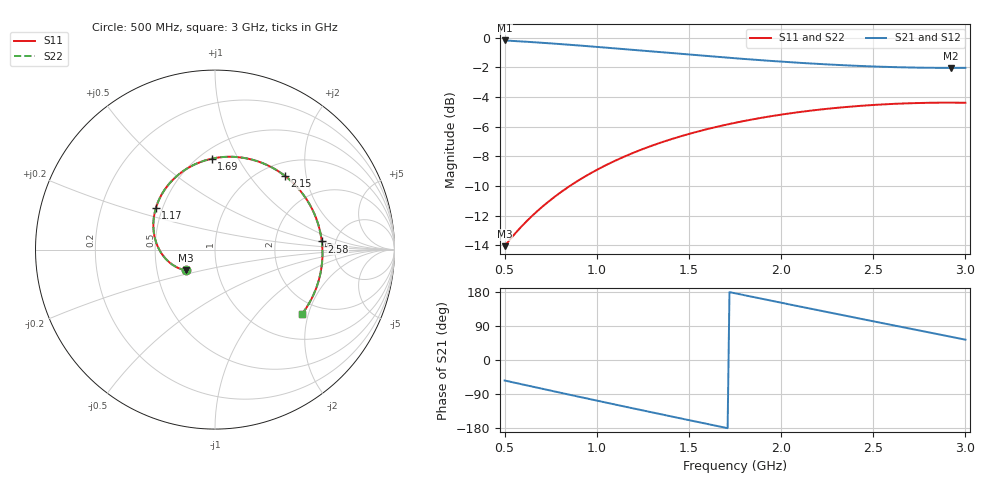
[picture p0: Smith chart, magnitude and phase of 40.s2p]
!freq-unit  param-type  data-format  keyword  impedance-ohms
# GHZ  S  RI  R  50
!Freq  ReS11  ImS11  ReS21  ImS21  ReS12  ImS12  ReS22  ImS22
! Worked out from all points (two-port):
!   251 points, 500 MHz to 3 GHz, reference 50 ohm
!   highest |S21| = -0.19 dB at 500 MHz (marker M1); lowest = -2.0 dB at 2.92 GHz (marker M2)
!   |S21| within 3 dB of the highest: start of sweep to end of sweep
!   lowest |S11| = -14.1 dB at 500 MHz (marker M3), VSWR 1.49, Z = 35.3 - j8.51 ohm
!   |S11| at or under -10 dB: start of sweep to 853.9 MHz
!   |S22| runs from -14.1 to -4.4 dB; largest |S21 - S12| = 0
!   S11 on the Smith chart (normalised r, x): 500 MHz: 0.71, -0.17; 1.17 GHz: 0.46, +0.25; 1.69 GHz: 0.57, +0.78; 2.15 GHz: 1.26, +1.52; 2.58 GHz: 3.88, +0.55; 3 GHz: 1.62, -1.82
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0.5  -0.1608 -0.1159  0.5733 -0.7927  0.5733 -0.7927  -0.1608 -0.1159
0.61  -0.2168 -0.0965  0.3956 -0.8849  0.3956 -0.8849  -0.2168 -0.0965
0.71  -0.2637 -0.0625  0.223 -0.934  0.223 -0.934  -0.2637 -0.0625
0.81  -0.3025 -0.0145  0.0468 -0.9493  0.0468 -0.9493  -0.3025 -0.0145
0.92  -0.3317 0.0517  -0.1432 -0.9282  -0.1432 -0.9282  -0.3317 0.0517
1.04  -0.3436 0.1347  -0.337 -0.8629  -0.337 -0.8629  -0.3436 0.1347
1.17  -0.3298 0.2302  -0.5212 -0.7486  -0.5212 -0.7486  -0.3298 0.2302
1.34  -0.2691 0.3497  -0.7077 -0.5458  -0.7077 -0.5458  -0.2691 0.3497
1.52  -0.1572 0.4507  -0.8257 -0.2888  -0.8257 -0.2888  -0.1572 0.4507
1.69  -0.0182 0.5065  -0.8571 -0.0316  -0.8571 -0.0316  -0.0182 0.5065
1.75  0.0357 0.515  -0.85 0.0582  -0.85 0.0582  0.0357 0.515
1.94  0.2113 0.4999  -0.7694 0.3246  -0.7694 0.3246  0.2113 0.4999
2.15  0.391 0.4097  -0.5928 0.565  -0.5928 0.565  0.391 0.4097
2.17  0.4063 0.3974  -0.572 0.5841  -0.572 0.5841  0.4063 0.3974
2.28  0.4816 0.3198  -0.4487 0.675  -0.4487 0.675  0.4816 0.3198
2.38  0.5358 0.2364  -0.3253 0.7363  -0.3253 0.7363  0.5358 0.2364
2.48  0.5741 0.1439  -0.1948 0.7762  -0.1948 0.7762  0.5741 0.1439
2.58  0.5951 0.0453  -0.0607 0.7941  -0.0607 0.7941  0.5951 0.0453
2.59  0.5962 0.0352  -0.0472 0.7947  -0.0472 0.7947  0.5962 0.0352
2.75  0.5887 -0.1265  0.1664 0.7744  0.1664 0.7744  0.5887 -0.1265
2.92  0.5301 -0.289  0.3785 0.6942  0.3785 0.6942  0.5301 -0.289
3  0.4858 -0.3575  0.4689 0.637  0.4689 0.637  0.4858 -0.3575
